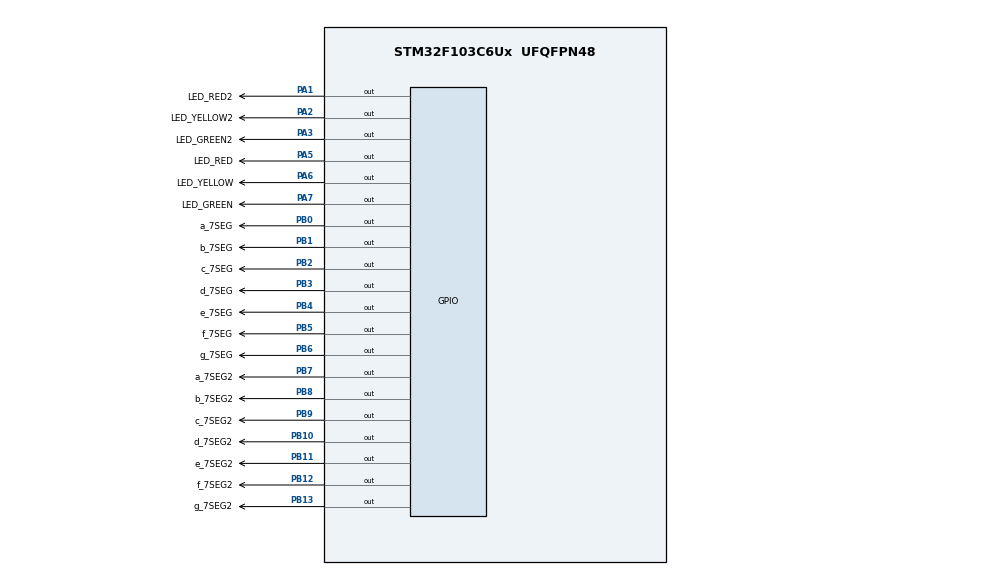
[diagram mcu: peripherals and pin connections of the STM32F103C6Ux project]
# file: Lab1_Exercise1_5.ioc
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Mcu.Family=STM32F1
Mcu.Name=STM32F103C6Ux
Mcu.Package=UFQFPN48
NVIC.PriorityGroup=NVIC_PRIORITYGROUP_4
PA1.GPIO_Label=LED_RED2
PA1.Signal=GPIO_Output
PA2.GPIO_Label=LED_YELLOW2
PA2.Signal=GPIO_Output
PA3.GPIO_Label=LED_GREEN2
PA3.Signal=GPIO_Output
PA5.GPIO_Label=LED_RED
PA5.Signal=GPIO_Output
PA6.GPIO_Label=LED_YELLOW
PA6.Signal=GPIO_Output
PA7.GPIO_Label=LED_GREEN
PA7.Signal=GPIO_Output
PB0.GPIO_Label=a_7SEG
PB0.Signal=GPIO_Output
PB1.GPIO_Label=b_7SEG
PB1.Signal=GPIO_Output
PB10.GPIO_Label=d_7SEG2
PB10.Signal=GPIO_Output
PB11.GPIO_Label=e_7SEG2
PB11.Signal=GPIO_Output
PB12.GPIO_Label=f_7SEG2
PB12.Signal=GPIO_Output
PB13.GPIO_Label=g_7SEG2
PB13.Signal=GPIO_Output
PB2.GPIO_Label=c_7SEG
PB2.Signal=GPIO_Output
PB3.GPIO_Label=d_7SEG
PB3.Signal=GPIO_Output
PB4.GPIO_Label=e_7SEG
PB4.Signal=GPIO_Output
PB5.GPIO_Label=f_7SEG
PB5.Signal=GPIO_Output
PB6.GPIO_Label=g_7SEG
PB6.Signal=GPIO_Output
PB7.GPIO_Label=a_7SEG2
PB7.Signal=GPIO_Output
PB8.GPIO_Label=b_7SEG2
PB8.Signal=GPIO_Output
PB9.GPIO_Label=c_7SEG2
PB9.Signal=GPIO_Output
ProjectManager.HeapSize=0x200
ProjectManager.StackSize=0x400
ProjectManager.TargetToolchain=STM32CubeIDE
RCC.APB1Freq_Value=8000000
RCC.APB2Freq_Value=8000000
VP_SYS_VS_ND.Mode=No_Debug
board=custom

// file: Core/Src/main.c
/* USER CODE BEGIN Header */
/**
  ******************************************************************************
  * @file           : main.c
  * @brief          : Main program body
  ******************************************************************************
  * @attention
  *
  * <h2><center>&copy; Copyright (c) 2025 STMicroelectronics.
  * All rights reserved.</center></h2>
  *
  * This software component is licensed by ST under BSD 3-Clause license,
  * the "License"; You may not use this file except in compliance with the
  * License. You may obtain a copy of the License at:
  *                        opensource.org/licenses/BSD-3-Clause
  *
  ******************************************************************************
  */
/* USER CODE END Header */
#include "main.h"

/* USER CODE BEGIN PTD */
typedef enum{
	Red,
	Yellow,
	Green
}Led_State;
/* USER CODE END PTD */

/* USER CODE BEGIN PD */
#define On	0
#define Off 1
/* USER CODE END PD */

/* USER CODE BEGIN PV */
Led_State state = Red;
Led_State state2 = Green;
int segTable[10][7] = {
			{0,0,0,0,0,0,1},
			{1,0,0,1,1,1,1},
			{0,0,1,0,0,1,0},
			{0,0,0,0,1,1,0},
			{1,0,0,1,1,0,0},
			{0,1,0,0,1,0,0},
			{0,1,0,0,0,0,0},
			{0,0,0,1,1,1,1},
			{0,0,0,0,0,0,0},
			{0,0,0,0,1,0,0}
	};
/* USER CODE END PV */

void SystemClock_Config(void);
static void MX_GPIO_Init(void);
/* USER CODE BEGIN PFP */
void xRed_State(int i);
void xYellow_State(int i);
void xGreen_State(int i);
void yRed_State(int i);
void yYellow_State(int i);
void yGreen_State(int i);

void display7SEG(int num);
void y_display7SEG(int num);
/* USER CODE END PFP */

int main(void)
{
  /* USER CODE BEGIN 1 */
	uint32_t counter_red = 500;
	uint32_t counter_yellow = 200;
	uint32_t counter_green= 300;

	uint32_t counter_red2 = 500;
	uint32_t counter_yellow2 = 200;
	uint32_t counter_green2 = 300;
  /* USER CODE END 1 */

  /* MCU Configuration--------------------------------------------------------*/

  /* Reset of all peripherals, Initializes the Flash interface and the Systick. */
  HAL_Init();

  /* Configure the system clock */
  SystemClock_Config();

  /* Initialize all configured peripherals */
  MX_GPIO_Init();

  /* Infinite loop */
  /* USER CODE BEGIN WHILE */
  while (1)
  {
		  switch(state){
		  case Red:
			  xRed_State(On);
			  xYellow_State(Off);
			  xGreen_State(Off);
			  if(counter_red % 100 == 0){
				  display7SEG(counter_red/100);
			  }
			  counter_red--;
			  if(counter_red <= 0){
				  counter_red = 500;
				  state = Green;
			  }
			  break;
		  case Yellow:
		  	  xRed_State(Off);
		  	  xYellow_State(On);
		  	  xGreen_State(Off);
		  	  if(counter_yellow % 100 == 0){
		  			display7SEG(counter_yellow/100);
		  	  }
		  	  counter_yellow--;
		  	  if(counter_yellow <= 0){
		  	  counter_yellow = 200;
		  	  state = Red;
		  	  }
		  	  break;
		  case Green:
			  xRed_State(Off);
			  xYellow_State(Off);
			  xGreen_State(On);
			  if(counter_green % 100 == 0){
			  		display7SEG(counter_green/100);
			  }
			  counter_green--;
			  if(counter_green <= 0){
			  counter_green = 300;
			  state = Yellow;
			  }
			  break;
		  default:
			  break;
		  }

		  switch(state2){
		  case Red:
			  yRed_State(On);
			  yYellow_State(Off);
			  yGreen_State(Off);
			  if(counter_red2 % 100 == 0){
				  y_display7SEG(counter_red2/100);
			  }
			  counter_red2--;
			  if(counter_red2 <= 0){
				  counter_red2 = 500;
				  state2 = Green;
			  }
			  break;
		  case Yellow:
		  	  yRed_State(Off);
		  	  yYellow_State(On);
		  	  yGreen_State(Off);
		  	  if(counter_yellow2 % 100 == 0){
		  		  y_display7SEG(counter_yellow2/100);
		  	  }
		  	  counter_yellow2--;
		  	  if(counter_yellow2 <= 0){
		  	  counter_yellow2 = 200;
		  	  state2 = Red;
		  	  }
		  	  break;
		  case Green:
			  yRed_State(Off);
			  yYellow_State(Off);
			  yGreen_State(On);
			  if(counter_green2 % 100 == 0){
				  y_display7SEG(counter_green2/100);
			  }
			  counter_green2--;
			  if(counter_green2 <= 0){
			  counter_green2 = 300;
			  state2 = Yellow;
			  }
			  break;
		  default:
			  break;
		  }
	  HAL_Delay(10);
    /* USER CODE END WHILE */

  }
}

void SystemClock_Config(void)
{
  RCC_OscInitTypeDef RCC_OscInitStruct = {0};
  RCC_ClkInitTypeDef RCC_ClkInitStruct = {0};

  /** Initializes the RCC Oscillators according to the specified parameters
  * in the RCC_OscInitTypeDef structure.
  */
  RCC_OscInitStruct.OscillatorType = RCC_OSCILLATORTYPE_HSI;
  RCC_OscInitStruct.HSIState = RCC_HSI_ON;
  RCC_OscInitStruct.HSICalibrationValue = RCC_HSICALIBRATION_DEFAULT;
  RCC_OscInitStruct.PLL.PLLState = RCC_PLL_NONE;
  if (HAL_RCC_OscConfig(&RCC_OscInitStruct) != HAL_OK)
  {
    Error_Handler();
  }
  /** Initializes the CPU, AHB and APB buses clocks
  */
  RCC_ClkInitStruct.ClockType = RCC_CLOCKTYPE_HCLK|RCC_CLOCKTYPE_SYSCLK
                              |RCC_CLOCKTYPE_PCLK1|RCC_CLOCKTYPE_PCLK2;
  RCC_ClkInitStruct.SYSCLKSource = RCC_SYSCLKSOURCE_HSI;
  RCC_ClkInitStruct.AHBCLKDivider = RCC_SYSCLK_DIV1;
  RCC_ClkInitStruct.APB1CLKDivider = RCC_HCLK_DIV1;
  RCC_ClkInitStruct.APB2CLKDivider = RCC_HCLK_DIV1;

  if (HAL_RCC_ClockConfig(&RCC_ClkInitStruct, FLASH_LATENCY_0) != HAL_OK)
  {
    Error_Handler();
  }
}

static void MX_GPIO_Init(void)
{
  GPIO_InitTypeDef GPIO_InitStruct = {0};

  /* GPIO Ports Clock Enable */
  __HAL_RCC_GPIOA_CLK_ENABLE();
  __HAL_RCC_GPIOB_CLK_ENABLE();

  /*Configure GPIO pin Output Level */
  HAL_GPIO_WritePin(GPIOA, LED_RED2_Pin|LED_YELLOW2_Pin|LED_GREEN2_Pin|LED_RED_Pin
                          |LED_YELLOW_Pin|LED_GREEN_Pin, GPIO_PIN_RESET);

  /*Configure GPIO pin Output Level */
  HAL_GPIO_WritePin(GPIOB, a_7SEG_Pin|b_7SEG_Pin|c_7SEG_Pin|d_7SEG2_Pin
                          |e_7SEG2_Pin|f_7SEG2_Pin|g_7SEG2_Pin|d_7SEG_Pin
                          |e_7SEG_Pin|f_7SEG_Pin|g_7SEG_Pin|a_7SEG2_Pin
                          |b_7SEG2_Pin|c_7SEG2_Pin, GPIO_PIN_RESET);

  /*Configure GPIO pins : LED_RED2_Pin LED_YELLOW2_Pin LED_GREEN2_Pin LED_RED_Pin
                           LED_YELLOW_Pin LED_GREEN_Pin */
  GPIO_InitStruct.Pin = LED_RED2_Pin|LED_YELLOW2_Pin|LED_GREEN2_Pin|LED_RED_Pin
                          |LED_YELLOW_Pin|LED_GREEN_Pin;
  GPIO_InitStruct.Mode = GPIO_MODE_OUTPUT_PP;
  GPIO_InitStruct.Pull = GPIO_NOPULL;
  GPIO_InitStruct.Speed = GPIO_SPEED_FREQ_LOW;
  HAL_GPIO_Init(GPIOA, &GPIO_InitStruct);

  /*Configure GPIO pins : a_7SEG_Pin b_7SEG_Pin c_7SEG_Pin d_7SEG2_Pin
                           e_7SEG2_Pin f_7SEG2_Pin g_7SEG2_Pin d_7SEG_Pin
                           e_7SEG_Pin f_7SEG_Pin g_7SEG_Pin a_7SEG2_Pin
                           b_7SEG2_Pin c_7SEG2_Pin */
  GPIO_InitStruct.Pin = a_7SEG_Pin|b_7SEG_Pin|c_7SEG_Pin|d_7SEG2_Pin
                          |e_7SEG2_Pin|f_7SEG2_Pin|g_7SEG2_Pin|d_7SEG_Pin
                          |e_7SEG_Pin|f_7SEG_Pin|g_7SEG_Pin|a_7SEG2_Pin
                          |b_7SEG2_Pin|c_7SEG2_Pin;
  GPIO_InitStruct.Mode = GPIO_MODE_OUTPUT_PP;
  GPIO_InitStruct.Pull = GPIO_NOPULL;
  GPIO_InitStruct.Speed = GPIO_SPEED_FREQ_LOW;
  HAL_GPIO_Init(GPIOB, &GPIO_InitStruct);

}

/* USER CODE BEGIN 4 */
void xRed_State(int i) {
    HAL_GPIO_WritePin(LED_RED_GPIO_Port, LED_RED_Pin, i);
    //HAL_GPIO_WritePin(LED_GREEN2_GPIO_Port, LED_GREEN2_Pin, i);
}
void xYellow_State(int i) {
    HAL_GPIO_WritePin(LED_YELLOW_GPIO_Port, LED_YELLOW_Pin, i);
}
void xGreen_State(int i) {
    HAL_GPIO_WritePin(LED_GREEN_GPIO_Port, LED_GREEN_Pin, i);
}

void yRed_State(int i) {
    HAL_GPIO_WritePin(LED_RED2_GPIO_Port, LED_RED2_Pin, i);
    //HAL_GPIO_WritePin(LED_GREEN2_GPIO_Port, LED_GREEN2_Pin, i);
}
void yYellow_State(int i) {
    HAL_GPIO_WritePin(LED_YELLOW2_GPIO_Port, LED_YELLOW2_Pin, i);
}
void yGreen_State(int i) {
    HAL_GPIO_WritePin(LED_GREEN2_GPIO_Port, LED_GREEN2_Pin, i);
}

void display7SEG(int num){
	if(num < 0 || num > 9) return;
	    HAL_GPIO_WritePin(a_7SEG_GPIO_Port, a_7SEG_Pin, segTable[num][0]);
	    HAL_GPIO_WritePin(b_7SEG_GPIO_Port, b_7SEG_Pin, segTable[num][1]);
	    HAL_GPIO_WritePin(c_7SEG_GPIO_Port, c_7SEG_Pin, segTable[num][2]);
	    HAL_GPIO_WritePin(d_7SEG_GPIO_Port, d_7SEG_Pin, segTable[num][3]);
	    HAL_GPIO_WritePin(e_7SEG_GPIO_Port, e_7SEG_Pin, segTable[num][4]);
	    HAL_GPIO_WritePin(f_7SEG_GPIO_Port, f_7SEG_Pin, segTable[num][5]);
	    HAL_GPIO_WritePin(g_7SEG_GPIO_Port, g_7SEG_Pin, segTable[num][6]);
}

void y_display7SEG(int num){
	if(num < 0 || num > 9) return;
		HAL_GPIO_WritePin(a_7SEG2_GPIO_Port, a_7SEG2_Pin, segTable[num][0]);
		HAL_GPIO_WritePin(b_7SEG2_GPIO_Port, b_7SEG2_Pin, segTable[num][1]);
		HAL_GPIO_WritePin(c_7SEG2_GPIO_Port, c_7SEG2_Pin, segTable[num][2]);
		HAL_GPIO_WritePin(d_7SEG2_GPIO_Port, d_7SEG2_Pin, segTable[num][3]);
		HAL_GPIO_WritePin(e_7SEG2_GPIO_Port, e_7SEG2_Pin, segTable[num][4]);
		HAL_GPIO_WritePin(f_7SEG2_GPIO_Port, f_7SEG2_Pin, segTable[num][5]);
		HAL_GPIO_WritePin(g_7SEG2_GPIO_Port, g_7SEG2_Pin, segTable[num][6]);
}

/* USER CODE END 4 */

void Error_Handler(void)
{
  __disable_irq();
  while (1)
  {
  }
}

/************************ (C) COPYRIGHT STMicroelectronics *****END OF FILE****/
